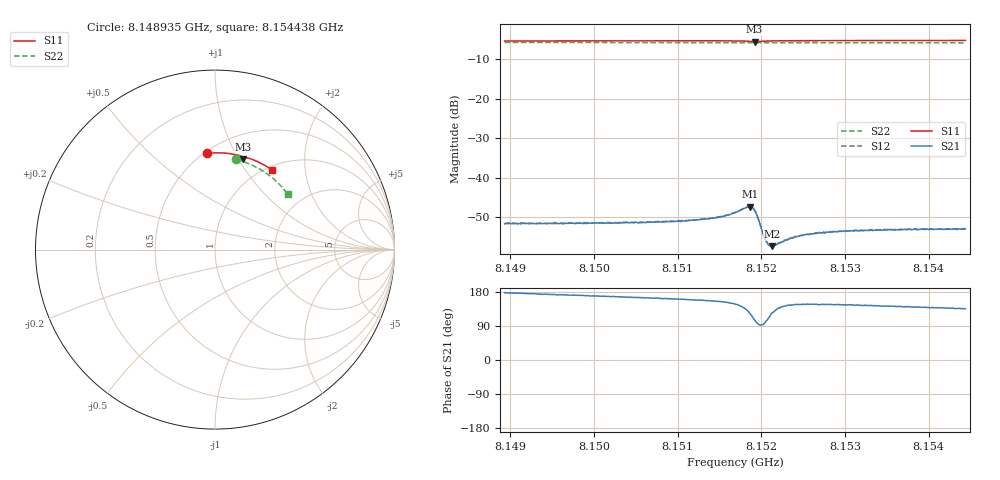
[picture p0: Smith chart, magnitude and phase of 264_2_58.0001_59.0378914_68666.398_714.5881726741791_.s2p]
#  HZ  S  RI  R  50.00
! Rohde & Schwarz Vector Network Analyzer
! Rohde-Schwarz,ZNB20-2Port,1311601062101988,3.16
! Created: UTC 3/21/2024, 1:02:06 AM
! freq[Hz]  re:S11  im:S11  re:S21  im:S21  re:S12  im:S12  re:S22  im:S22
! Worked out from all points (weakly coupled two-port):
!   401 points, 8.148935 GHz to 8.154438 GHz, reference 50 ohm
!   highest |S21| = -47.33 dB at 8.151865 GHz (marker M1); lowest = -57.3 dB at 8.152127 GHz (marker M2)
!   lowest |S11| = -5.5 dB at 8.15192 GHz (marker M3), VSWR 3.24, Z = 37.3 + j52.3 ohm
!   |S11| at or under -10 dB: nowhere
!   |S22| runs from -5.9 to -5.7 dB; largest |S21 - S12| = 0.00012
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8.148935e9  -0.0447 0.536  -0.0026 0.000105  -0.00267 0.000147  0.1191 0.502
8.1498567e9  0.0196 0.5393  -0.00261 0.00047  -0.00261 0.000505  0.1762 0.4839
8.1507784e9  0.0839 0.5344  -0.00263 0.000812  -0.00265 0.000874  0.2307 0.4593
8.1510673e9  0.1041 0.5313  -0.00267 0.000946  -0.00268 0.00103  0.2471 0.4504
8.1513562e9  0.1245 0.527  -0.00277 0.00118  -0.00279 0.00125  0.263 0.4408
8.1515763e9  0.1407 0.5226  -0.00295 0.00153  -0.00296 0.0016  0.2749 0.4331
8.1516864e9  0.149 0.5193  -0.00306 0.00193  -0.00305 0.00198  0.2809 0.4291
8.1518102e9  0.1578 0.5125  -0.00295 0.00294  -0.00291 0.003  0.2872 0.4243
8.1518652e9  0.1593 0.5077  -0.00232 0.00362  -0.00233 0.00371  0.2899 0.4223
8.1518927e9  0.1585 0.5057  -0.00172 0.00382  -0.00173 0.00386  0.2914 0.4211
8.1519202e9  0.157 0.505  -0.00104 0.00372  -0.00102 0.00373  0.2926 0.4201
8.1519615e9  0.1554 0.5066  -0.000288 0.00305  -0.000213 0.00309  0.2947 0.4188
8.1520303e9  0.1583 0.5111  -0.000177 0.00183  -0.000155 0.00185  0.2982 0.4164
8.1520578e9  0.1607 0.5123  -0.000356 0.00153  -0.000331 0.00155  0.2997 0.4154
8.1520853e9  0.1632 0.5127  -0.000494 0.00133  -0.000484 0.00137  0.3011 0.4145
8.1521266e9  0.1668 0.5131  -0.000757 0.00113  -0.000734 0.00118  0.3033 0.4127
8.1521679e9  0.1704 0.5127  -0.000933 0.00107  -0.000937 0.00106  0.3055 0.411
8.1523742e9  0.1864 0.5095  -0.00141 0.000992  -0.00142 0.00102  0.3159 0.4029
8.1526081e9  0.2026 0.5041  -0.00166 0.00106  -0.00167 0.00109  0.3274 0.3933
8.152952e9  0.2254 0.4953  -0.00175 0.00117  -0.00174 0.00118  0.3437 0.3785
8.1535298e9  0.2619 0.4779  -0.00173 0.00135  -0.00169 0.00138  0.3694 0.3523
8.1544377e9  0.316 0.4458  -0.0016 0.00158  -0.00162 0.00162  0.4059 0.3075
